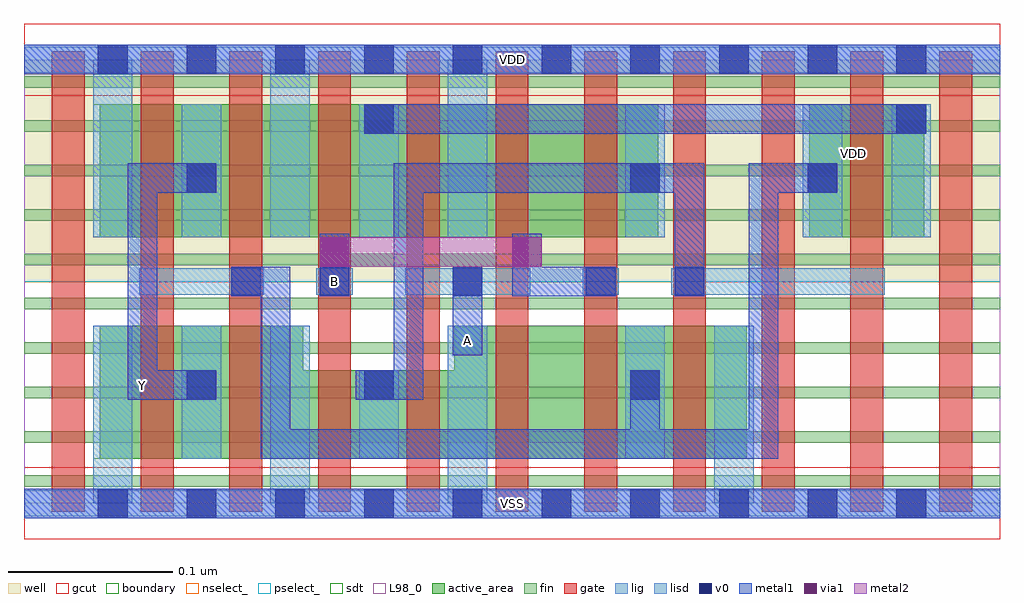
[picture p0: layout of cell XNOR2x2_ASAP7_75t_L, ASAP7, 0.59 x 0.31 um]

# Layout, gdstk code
import gdstk
lib = gdstk.Library(unit=1e-6, precision=2.5e-10)
def R(c, l, rs):  # rectangles x0, y0, x1, y1
    for r in rs: c.add(gdstk.rectangle(r[:2], r[2:], *l))
def A(c, l, x, y, w, h, nx, ny, dx, dy):  # array of equal rectangles
    R(c, l, [(x+i*dx, y+j*dy, x+i*dx+w, y+j*dy+h) for i in range(nx) for j in range(ny)])
def P(c, l, *ps):  # polygons
    for p in ps: c.add(gdstk.Polygon(p, *l))
well = (1, 0)
fin = (2, 0)
gate = (7, 0)
gcut = (10, 0)
active_area = (11, 0)
nselect_ = (12, 0)
pselect_ = (13, 0)
lig = (16, 0)
lisd = (17, 0)
v0 = (18, 0)
metal1 = (19, 0)
metal2 = (20, 0)
via1 = (21, 0)
sdt = (88, 0)
L98_0 = (98, 0)
boundary = (100, 0)

xnor2x2_asap7_75t_l = lib.new_cell('XNOR2x2_ASAP7_75t_L')
R(xnor2x2_asap7_75t_l, well, [(0,0.135,0.594,0.27)])
A(xnor2x2_asap7_75t_l, fin, 0, 0.01, 0.594, 0.007, 1, 10, 0, 0.027)
A(xnor2x2_asap7_75t_l, gate, 0.017, -0.005, 0.02, 0.28, 11, 1, 0.054, 0)
R(xnor2x2_asap7_75t_l, gcut, [(0,-0.022,0.594,0.022), (0,0.248,0.594,0.292)])
R(xnor2x2_asap7_75t_l, active_area, [(0.046,0.162,0.386,0.243), (0.478,0.162,0.548,0.243)])
P(xnor2x2_asap7_75t_l, active_area, [(0.046,0.027),(0.046,0.108),(0.17,0.108),(0.17,0.081),(0.262,0.081),(0.262,0.108),(0.44,0.108),(0.44,0.027)])
R(xnor2x2_asap7_75t_l, nselect_, [(0,0,0.594,0.135)])
R(xnor2x2_asap7_75t_l, pselect_, [(0,0.135,0.594,0.27)])
R(xnor2x2_asap7_75t_l, lig, [(0,-0.008,0.594,0.008), (0.07,0.127,0.146,0.143), (0.178,0.127,0.2,0.143), (0.232,0.127,0.308,0.143), (0.34,0.127,0.362,0.143), (0.394,0.127,0.524,0.143), (0,0.262,0.594,0.278)])
A(xnor2x2_asap7_75t_l, lisd, 0.042, 0, 0.024, 0.108, 3, 2, 0.108, 0.162)
R(xnor2x2_asap7_75t_l, lisd, [(0.42,0,0.444,0.108), (0.096,0.027,0.12,0.108), (0.204,0.027,0.228,0.081), (0.366,0.027,0.39,0.108), (0.096,0.162,0.12,0.243), (0.204,0.162,0.228,0.243), (0.366,0.162,0.39,0.243), (0.474,0.162,0.498,0.243), (0.528,0.162,0.552,0.243)])
A(xnor2x2_asap7_75t_l, v0, 0.045, -0.009, 0.018, 0.018, 10, 2, 0.054, 0.27)
A(xnor2x2_asap7_75t_l, v0, 0.18, 0.126, 0.018, 0.018, 3, 1, 0.081, 0)
R(xnor2x2_asap7_75t_l, v0, [(0.099,0.063,0.117,0.081), (0.207,0.063,0.225,0.081), (0.369,0.063,0.387,0.081), (0.126,0.126,0.144,0.144), (0.396,0.126,0.414,0.144), (0.099,0.189,0.117,0.207), (0.369,0.189,0.387,0.207), (0.477,0.189,0.495,0.207), (0.207,0.225,0.225,0.243), (0.531,0.225,0.549,0.243)])
R(xnor2x2_asap7_75t_l, metal1, [(0,-0.009,0.594,0.009), (0.261,0.09,0.279,0.144), (0.18,0.126,0.198,0.164), (0.207,0.225,0.549,0.243), (0,0.261,0.594,0.279)])
P(xnor2x2_asap7_75t_l, metal1, [(0.144,0.027),(0.144,0.126),(0.126,0.126),(0.126,0.144),(0.162,0.144),(0.162,0.045),(0.369,0.045),(0.369,0.081),(0.387,0.081),(0.387,0.045),(0.441,0.045),(0.441,0.207),(0.495,0.207),(0.495,0.189),(0.459,0.189),(0.459,0.027)],
  [(0.063,0.063),(0.063,0.207),(0.117,0.207),(0.117,0.189),(0.081,0.189),(0.081,0.081),(0.117,0.081),(0.117,0.063)],
  [(0.202,0.063),(0.202,0.081),(0.225,0.081),(0.225,0.207),(0.414,0.207),(0.414,0.126),(0.396,0.126),(0.396,0.189),(0.243,0.189),(0.243,0.063)],
  [(0.297,0.126),(0.297,0.164),(0.315,0.164),(0.315,0.144),(0.36,0.144),(0.36,0.126)])
R(xnor2x2_asap7_75t_l, metal2, [(0.18,0.144,0.315,0.162)])
R(xnor2x2_asap7_75t_l, via1, [(0.18,0.144,0.198,0.162), (0.297,0.144,0.315,0.162)])
A(xnor2x2_asap7_75t_l, sdt, 0.042, 0.027, 0.024, 0.081, 3, 1, 0.054, 0)
A(xnor2x2_asap7_75t_l, sdt, 0.042, 0.162, 0.024, 0.081, 5, 1, 0.054, 0)
R(xnor2x2_asap7_75t_l, sdt, [(0.204,0.027,0.228,0.081), (0.258,0.027,0.282,0.108), (0.366,0.027,0.39,0.108), (0.42,0.027,0.444,0.108), (0.366,0.162,0.39,0.243), (0.474,0.162,0.498,0.243), (0.528,0.162,0.552,0.243)])
R(xnor2x2_asap7_75t_l, L98_0, [(0,0,0.594,0.27)])
R(xnor2x2_asap7_75t_l, boundary, [(0,0,0.594,0.27)])
xnor2x2_asap7_75t_l.add(gdstk.Label('Y', (0.072,0.072), layer=19, texttype=251))
xnor2x2_asap7_75t_l.add(gdstk.Label('B', (0.189,0.135), layer=19, texttype=251))
xnor2x2_asap7_75t_l.add(gdstk.Label('A', (0.27,0.099), layer=19, texttype=251))
xnor2x2_asap7_75t_l.add(gdstk.Label('VSS', (0.297,0), layer=19, texttype=251))
xnor2x2_asap7_75t_l.add(gdstk.Label('VDD', (0.297,0.27), layer=19, texttype=251))
xnor2x2_asap7_75t_l.add(gdstk.Label('VDD', (0.505,0.213), layer=1, texttype=251))
xnor2x2_asap7_75t_l.add(gdstk.Label('VSS', (0.683,0.213), layer=3, texttype=251))

lib.write_gds('XNOR2x2_ASAP7_75t_L.gds')
